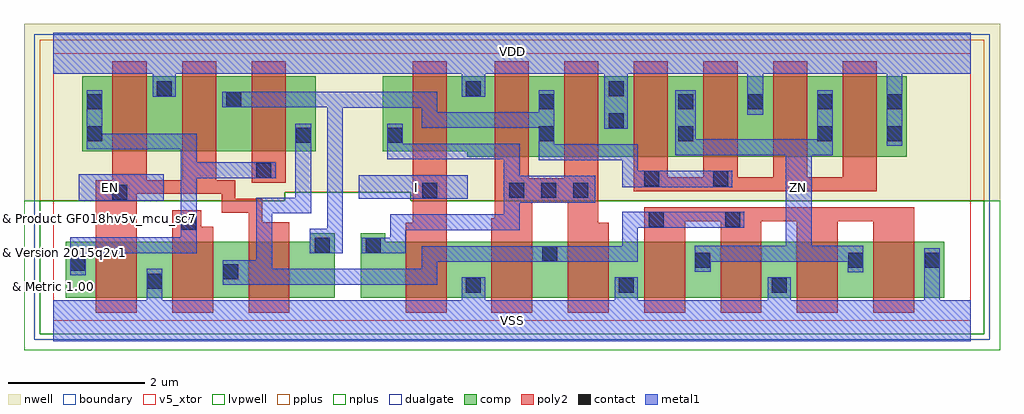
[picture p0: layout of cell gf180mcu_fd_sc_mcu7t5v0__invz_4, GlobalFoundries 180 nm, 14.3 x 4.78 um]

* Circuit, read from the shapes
.subckt gf180mcu_fd_sc_mcu7t5v0__invz_4 EN I VDD VSS ZN
XM1 VSS EN n1 VSUBS nfet_05v0 w=0.82u l=0.6u
XM2 n2 n1 VSS VSUBS nfet_05v0 w=0.82u l=0.6u
XM3 n3 EN n2 VSUBS nfet_05v0 w=0.82u l=0.6u
XM4 VSS I n4 VSUBS nfet_05v0 w=0.82u l=0.6u
XM5 n2 n4 VSS VSUBS nfet_05v0 w=0.82u l=0.6u m=2
XM6 ZN n2 VSS VSUBS nfet_05v0 w=0.82u l=0.6u m=4
XM7 VDD EN n1 n5 pfet_05v0 w=1.095u l=0.5u
XM8 n3 EN VDD n5 pfet_05v0 w=1.095u l=0.5u
XM9 n2 n1 n3 n5 pfet_05v0 w=1.095u l=0.5u
XM10 VDD I n4 n5 pfet_05v0 w=1.095u l=0.5u
XM11 n3 n4 VDD n5 pfet_05v0 w=1.18u l=0.5u m=2
XM12 ZN n3 VDD n5 pfet_05v0 w=1.18u l=0.5u m=4
.ends

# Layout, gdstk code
import gdstk
lib = gdstk.Library(unit=1e-6, precision=1e-09)
def R(c, l, rs):  # rectangles x0, y0, x1, y1
    for r in rs: c.add(gdstk.rectangle(r[:2], r[2:], *l))
def A(c, l, x, y, w, h, nx, ny, dx, dy):  # array of equal rectangles
    R(c, l, [(x+i*dx, y+j*dy, x+i*dx+w, y+j*dy+h) for i in range(nx) for j in range(ny)])
def P(c, l, *ps):  # polygons
    for p in ps: c.add(gdstk.Polygon(p, *l))
boundary = (0, 0)
nwell = (21, 0)
comp = (22, 0)
poly2 = (30, 0)
pplus = (31, 0)
nplus = (32, 0)
contact = (33, 0)
metal1 = (34, 0)
dualgate = (55, 0)
v5_xtor = (112, 1)
lvpwell = (204, 0)

gf180mcu_fd_sc_mcu7t5v0_ = lib.new_cell('gf180mcu_fd_sc_mcu7t5v0__invz_4')
R(gf180mcu_fd_sc_mcu7t5v0_, boundary, [(0,0,13.44,3.92)])
P(gf180mcu_fd_sc_mcu7t5v0_, nwell, [(-0.43,1.76),(-0.43,4.35),(13.87,4.35),(13.87,1.76),(5.235,1.76),(5.235,1.885),(3.39,1.885),(3.39,1.76)])
R(gf180mcu_fd_sc_mcu7t5v0_, comp, [(0.425,2.485,3.845,3.58)])
P(gf180mcu_fd_sc_mcu7t5v0_, comp, [(0.18,0.34),(0.18,1.16),(3.76,1.16),(3.76,1.285),(4.12,1.285),(4.12,0.34)],
  [(6.065,2.4),(6.065,2.485),(4.825,2.485),(4.825,3.58),(12.505,3.58),(12.505,2.4)],
  [(4.505,0.34),(4.505,1.285),(4.865,1.285),(4.865,1.16),(13.055,1.16),(13.055,0.34)])
R(gf180mcu_fd_sc_mcu7t5v0_, poly2, [(2.905,2.025,3.405,3.8)])
P(gf180mcu_fd_sc_mcu7t5v0_, poly2, [(1.74,0.12),(1.74,1.62),(2.165,1.62),(2.165,1.38),(2.34,1.38),(2.34,0.12)],
  [(0.62,0.12),(0.62,2.06),(0.865,2.06),(0.865,3.8),(1.365,3.8),(1.365,2.06),(1.885,2.06),(1.885,3.8),(2.385,3.8),(2.385,2.06),(2.665,2.06),(2.665,1.785),(3.06,1.785),(3.06,1.44),(3.46,1.44),(3.46,0.12),(2.86,0.12),(2.86,1.585),(2.465,1.585),(2.465,1.86),(1.22,1.86),(1.22,0.12)],
  [(5.165,0.12),(5.165,1.435),(5.265,1.435),(5.265,3.8),(5.765,3.8),(5.765,0.12)],
  [(6.415,0.12),(6.415,1.5),(6.465,1.5),(6.465,3.8),(6.965,3.8),(6.965,2.09),(7.485,2.09),(7.485,3.8),(7.985,3.8),(7.985,1.435),(8.135,1.435),(8.135,0.12),(7.535,0.12),(7.535,1.73),(7.015,1.73),(7.015,0.12)],
  [(8.505,1.9),(8.505,3.8),(9.005,3.8),(9.005,2.1),(9.525,2.1),(9.525,3.8),(10.025,3.8),(10.025,2.1),(10.545,2.1),(10.545,3.8),(11.045,3.8),(11.045,2.1),(11.565,2.1),(11.565,3.8),(12.065,3.8),(12.065,1.9)],
  [(8.655,0.12),(8.655,1.66),(12.615,1.66),(12.615,0.12),(12.015,0.12),(12.015,1.46),(11.495,1.46),(11.495,0.12),(10.895,0.12),(10.895,1.46),(10.375,1.46),(10.375,0.12),(9.775,0.12),(9.775,1.46),(9.255,1.46),(9.255,0.12)])
P(gf180mcu_fd_sc_mcu7t5v0_, pplus, [(-0.2,1.76),(-0.2,4.12),(13.64,4.12),(13.64,1.76),(5.235,1.76),(5.235,1.885),(3.39,1.885),(3.39,1.76)])
P(gf180mcu_fd_sc_mcu7t5v0_, nplus, [(-0.2,-0.2),(-0.2,1.76),(3.39,1.76),(3.39,1.885),(5.235,1.885),(5.235,1.76),(13.64,1.76),(13.64,-0.2)])
A(gf180mcu_fd_sc_mcu7t5v0_, contact, 6.045, 0.41, 0.22, 0.22, 3, 1, 2.24, 0)
A(gf180mcu_fd_sc_mcu7t5v0_, contact, 6.68, 1.8, 0.22, 0.22, 3, 1, 0.47, 0)
A(gf180mcu_fd_sc_mcu7t5v0_, contact, 7.115, 2.63, 0.22, 0.22, 3, 1, 2.04, 0)
A(gf180mcu_fd_sc_mcu7t5v0_, contact, 9.155, 3.1, 0.22, 0.22, 4, 1, 1.02, 0)
R(gf180mcu_fd_sc_mcu7t5v0_, contact, [(1.37,0.47,1.59,0.69), (2.49,0.605,2.71,0.825), (0.25,0.735,0.47,0.955), (9.405,0.775,9.625,0.995), (11.645,0.775,11.865,0.995), (12.765,0.775,12.985,0.995), (7.165,0.87,7.385,1.09), (3.83,0.995,4.05,1.215), (4.575,0.995,4.795,1.215), (1.875,1.33,2.095,1.55), (8.725,1.37,8.945,1.59), (9.845,1.37,10.065,1.59), (0.865,1.77,1.085,1.99), (5.405,1.8,5.625,2.02), (8.66,1.97,8.88,2.19), (9.67,1.97,9.89,2.19), (2.975,2.095,3.195,2.315), (3.555,2.61,3.775,2.83), (4.895,2.61,5.115,2.83), (0.495,2.63,0.715,2.85), (12.215,2.63,12.435,2.85), (8.135,2.82,8.355,3.04), (0.495,3.1,0.715,3.32), (7.115,3.1,7.335,3.32), (2.535,3.13,2.755,3.35), (1.515,3.29,1.735,3.51), (6.045,3.29,6.265,3.51), (8.135,3.29,8.355,3.51)])
R(gf180mcu_fd_sc_mcu7t5v0_, metal1, [(0.37,1.76,1.62,2.15), (4.475,1.79,6.07,2.135)])
P(gf180mcu_fd_sc_mcu7t5v0_, metal1, [(0.245,0.67),(0.245,1.225),(1.87,1.225),(1.87,2.51),(0.49,2.51),(0.49,3.38),(0.72,3.38),(0.72,2.74),(2.1,2.74),(2.1,2.32),(3.26,2.32),(3.26,2.085),(2.1,2.085),(2.1,0.99),(0.475,0.99),(0.475,0.67)],
  [(4.515,0.99),(4.515,1.22),(4.935,1.22),(4.935,1.56),(6.6,1.56),(6.6,2.365),(4.89,2.365),(4.89,2.89),(5.12,2.89),(5.12,2.595),(6.83,2.595),(6.83,2.125),(7.94,2.125),(7.94,1.73),(6.83,1.73),(6.83,1.325),(5.165,1.325),(5.165,0.99)],
  [(3.76,0.99),(3.76,1.345),(4.01,1.345),(4.01,3.125),(2.475,3.125),(2.475,3.355),(5.625,3.355),(5.625,3.055),(7.11,3.055),(7.11,3.38),(7.34,3.38),(7.34,2.585),(8.565,2.585),(8.565,2.195),(9.95,2.195),(9.95,1.96),(8.335,1.96),(8.335,2.355),(7.11,2.355),(7.11,2.825),(5.395,2.825),(5.395,3.12),(4.24,3.12),(4.24,0.99)],
  [(2.485,0.53),(2.485,0.885),(2.975,0.885),(2.975,1.805),(3.545,1.805),(3.545,2.89),(3.78,2.89),(3.78,1.575),(3.205,1.575),(3.205,0.76),(5.395,0.76),(5.395,1.095),(8.335,1.095),(8.335,1.595),(10.125,1.595),(10.125,1.365),(8.565,1.365),(8.565,0.865),(5.625,0.865),(5.625,0.53)],
  [(11.64,0.71),(11.64,0.865),(9.63,0.865),(9.63,0.715),(9.4,0.715),(9.4,1.1),(10.73,1.1),(10.73,2.425),(9.11,2.425),(9.11,3.38),(9.41,3.38),(9.41,2.66),(11.19,2.66),(11.19,3.38),(11.42,3.38),(11.42,2.425),(11.11,2.425),(11.11,1.1),(11.87,1.1),(11.87,0.71)],
  [(0,-0.3),(0,0.3),(1.365,0.3),(1.365,0.76),(1.595,0.76),(1.595,0.3),(5.985,0.3),(5.985,0.635),(6.325,0.635),(6.325,0.3),(8.225,0.3),(8.225,0.635),(8.565,0.635),(8.565,0.3),(10.465,0.3),(10.465,0.635),(10.805,0.635),(10.805,0.3),(12.76,0.3),(12.76,1.06),(12.99,1.06),(12.99,0.3),(13.44,0.3),(13.44,-0.3)],
  [(12.21,2.565),(12.21,3.62),(10.4,3.62),(10.4,3.02),(10.17,3.02),(10.17,3.62),(8.415,3.62),(8.415,2.815),(8.075,2.815),(8.075,3.62),(6.325,3.62),(6.325,3.285),(5.985,3.285),(5.985,3.62),(1.795,3.62),(1.795,3.285),(1.455,3.285),(1.455,3.62),(0,3.62),(0,4.22),(13.44,4.22),(13.44,3.62),(12.44,3.62),(12.44,2.565)])
R(gf180mcu_fd_sc_mcu7t5v0_, dualgate, [(-0.28,-0.28,13.72,4.2)])
R(gf180mcu_fd_sc_mcu7t5v0_, v5_xtor, [(0,0,13.44,3.92)])
P(gf180mcu_fd_sc_mcu7t5v0_, lvpwell, [(-0.43,-0.43),(-0.43,1.76),(3.39,1.76),(3.39,1.885),(5.235,1.885),(5.235,1.76),(13.87,1.76),(13.87,-0.43)])
gf180mcu_fd_sc_mcu7t5v0_.add(gdstk.Label('VDD', (6.72,3.945), layer=34, texttype=10))
gf180mcu_fd_sc_mcu7t5v0_.add(gdstk.Label('VSS', (6.72,0), layer=34, texttype=10))
gf180mcu_fd_sc_mcu7t5v0_.add(gdstk.Label('ZN', (10.92,1.96), layer=34, texttype=10))
gf180mcu_fd_sc_mcu7t5v0_.add(gdstk.Label('EN', (0.84,1.96), layer=34, texttype=10))
gf180mcu_fd_sc_mcu7t5v0_.add(gdstk.Label('I', (5.32,1.96), layer=34, texttype=10))
gf180mcu_fd_sc_mcu7t5v0_.add(gdstk.Label('& Vendor GLOBALFOUNDRIES', (0,2), layer=63, texttype=63))
gf180mcu_fd_sc_mcu7t5v0_.add(gdstk.Label('& Product GF018hv5v_mcu_sc7', (0,1.5), layer=63, texttype=63))
gf180mcu_fd_sc_mcu7t5v0_.add(gdstk.Label('& Version 2015q2v1', (0,1), layer=63, texttype=63))
gf180mcu_fd_sc_mcu7t5v0_.add(gdstk.Label('& Metric 1.00', (0,0.5), layer=63, texttype=63))

lib.write_gds('gf180mcu_fd_sc_mcu7t5v0__invz_4.gds')
